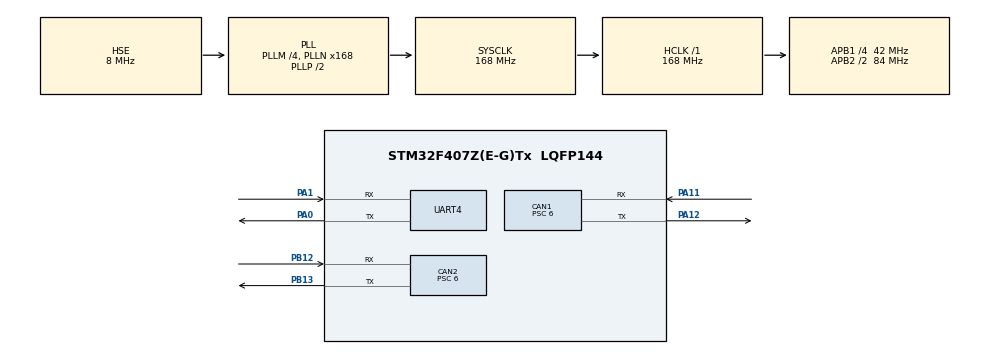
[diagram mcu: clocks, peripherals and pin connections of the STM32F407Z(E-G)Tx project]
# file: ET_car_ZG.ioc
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CAN1.BS1=CAN_BS1_4TQ
CAN1.BS2=CAN_BS2_2TQ
CAN1.CalculateBaudRate=1000000
CAN1.CalculateTimeBit=1000
CAN1.CalculateTimeQuantum=142.85714285714286
CAN1.Prescaler=6
CAN2.BS1=CAN_BS1_4TQ
CAN2.BS2=CAN_BS2_2TQ
CAN2.CalculateBaudRate=1000000
CAN2.CalculateTimeBit=1000
CAN2.CalculateTimeQuantum=142.85714285714286
CAN2.Prescaler=6
Mcu.Family=STM32F4
Mcu.Name=STM32F407Z(E-G)Tx
Mcu.Package=LQFP144
NVIC.CAN1_RX0_IRQn=true\:0\:0\:false\:false\:true\:true\:true\:true
NVIC.CAN2_RX0_IRQn=true\:0\:0\:false\:false\:true\:true\:true\:true
NVIC.PriorityGroup=NVIC_PRIORITYGROUP_4
PA0-WKUP.Mode=Asynchronous
PA0-WKUP.Signal=UART4_TX
PA1.Mode=Asynchronous
PA1.Signal=UART4_RX
PA11.Mode=CAN_Activate
PA11.Signal=CAN1_RX
PA12.Mode=CAN_Activate
PA12.Signal=CAN1_TX
PA13.Mode=Serial_Wire
PA13.Signal=SYS_JTMS-SWDIO
PA14.Mode=Serial_Wire
PA14.Signal=SYS_JTCK-SWCLK
PB12.Mode=CAN_Activate
PB12.Signal=CAN2_RX
PB13.Mode=CAN_Activate
PB13.Signal=CAN2_TX
PH0-OSC_IN.Mode=HSE-External-Oscillator
PH0-OSC_IN.Signal=RCC_OSC_IN
PH1-OSC_OUT.Mode=HSE-External-Oscillator
PH1-OSC_OUT.Signal=RCC_OSC_OUT
ProjectManager.HeapSize=0x200
ProjectManager.StackSize=0x400
ProjectManager.TargetToolchain=MDK-ARM V5
RCC.48MHZClocksFreq_Value=84000000
RCC.AHBFreq_Value=168000000
RCC.APB1CLKDivider=RCC_HCLK_DIV4
RCC.APB1Freq_Value=42000000
RCC.APB1TimFreq_Value=84000000
RCC.APB2CLKDivider=RCC_HCLK_DIV2
RCC.APB2Freq_Value=84000000
RCC.APB2TimFreq_Value=168000000
RCC.CortexFreq_Value=168000000
RCC.HCLKFreq_Value=168000000
RCC.HSE_VALUE=8000000
RCC.HSI_VALUE=16000000
RCC.LSE_VALUE=32768
RCC.PLLM=4
RCC.PLLN=168
RCC.PLLSourceVirtual=RCC_PLLSOURCE_HSE
RCC.SYSCLKFreq_VALUE=168000000
RCC.SYSCLKSource=RCC_SYSCLKSOURCE_PLLCLK
RCC.VCOOutputFreq_Value=336000000
UART4.VirtualMode=Asynchronous
board=custom

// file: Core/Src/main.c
/* USER CODE BEGIN Header */
/**
  ******************************************************************************
  * @file           : main.c
  * @brief          : Main program body
  ******************************************************************************
  * @attention
  *
  * Copyright (c) 2023 STMicroelectronics.
  * All rights reserved.
  *
  * This software is licensed under terms that can be found in the LICENSE file
  * in the root directory of this software component.
  * If no LICENSE file comes with this software, it is provided AS-IS.
  *
  ******************************************************************************
  */
/* USER CODE END Header */
#include "main.h"
#include "can.h"
#include "usart.h"
#include "gpio.h"

/* USER CODE BEGIN Includes */
#include "Emm_V5.h"
#include "cmd_TR.h"
#include "Chassis.h"
/* USER CODE END Includes */

void SystemClock_Config(void);

int main(void)
{

  /* MCU Configuration--------------------------------------------------------*/

  /* Reset of all peripherals, Initializes the Flash interface and the Systick. */
  HAL_Init();

  /* Configure the system clock */
  SystemClock_Config();

  /* Initialize all configured peripherals */
  MX_GPIO_Init();
  MX_CAN1_Init();
  MX_CAN2_Init();
  MX_UART4_Init();
  /* USER CODE BEGIN 2 */
  can_Init();
  /* USER CODE END 2 */

  /* Infinite loop */
  while (1)
  {

    /* USER CODE BEGIN 3 */
	Val_forward(100, 100);
	HAL_Delay(3000);
	brake();
	  HAL_Delay(1000);
	Val_right(100, 100);
	HAL_Delay(3000);
	brake();
	  HAL_Delay(1000);
	Val_left(100, 100);
	HAL_Delay(3000);
	brake();
	  HAL_Delay(1000);
	Val_back(100, 100);
	HAL_Delay(3000);
	brake();
	HAL_Delay(5000);
  }
  /* USER CODE END 3 */
}

void SystemClock_Config(void)
{
  RCC_OscInitTypeDef RCC_OscInitStruct = {0};
  RCC_ClkInitTypeDef RCC_ClkInitStruct = {0};

  /** Configure the main internal regulator output voltage
  */
  __HAL_RCC_PWR_CLK_ENABLE();
  __HAL_PWR_VOLTAGESCALING_CONFIG(PWR_REGULATOR_VOLTAGE_SCALE1);

  /** Initializes the RCC Oscillators according to the specified parameters
  * in the RCC_OscInitTypeDef structure.
  */
  RCC_OscInitStruct.OscillatorType = RCC_OSCILLATORTYPE_HSE;
  RCC_OscInitStruct.HSEState = RCC_HSE_ON;
  RCC_OscInitStruct.PLL.PLLState = RCC_PLL_ON;
  RCC_OscInitStruct.PLL.PLLSource = RCC_PLLSOURCE_HSE;
  RCC_OscInitStruct.PLL.PLLM = 4;
  RCC_OscInitStruct.PLL.PLLN = 168;
  RCC_OscInitStruct.PLL.PLLP = RCC_PLLP_DIV2;
  RCC_OscInitStruct.PLL.PLLQ = 4;
  if (HAL_RCC_OscConfig(&RCC_OscInitStruct) != HAL_OK)
  {
    Error_Handler();
  }

  /** Initializes the CPU, AHB and APB buses clocks
  */
  RCC_ClkInitStruct.ClockType = RCC_CLOCKTYPE_HCLK|RCC_CLOCKTYPE_SYSCLK
                              |RCC_CLOCKTYPE_PCLK1|RCC_CLOCKTYPE_PCLK2;
  RCC_ClkInitStruct.SYSCLKSource = RCC_SYSCLKSOURCE_PLLCLK;
  RCC_ClkInitStruct.AHBCLKDivider = RCC_SYSCLK_DIV1;
  RCC_ClkInitStruct.APB1CLKDivider = RCC_HCLK_DIV4;
  RCC_ClkInitStruct.APB2CLKDivider = RCC_HCLK_DIV2;

  if (HAL_RCC_ClockConfig(&RCC_ClkInitStruct, FLASH_LATENCY_5) != HAL_OK)
  {
    Error_Handler();
  }
}

void Error_Handler(void)
{
  __disable_irq();
  while (1)
  {
  }
}
